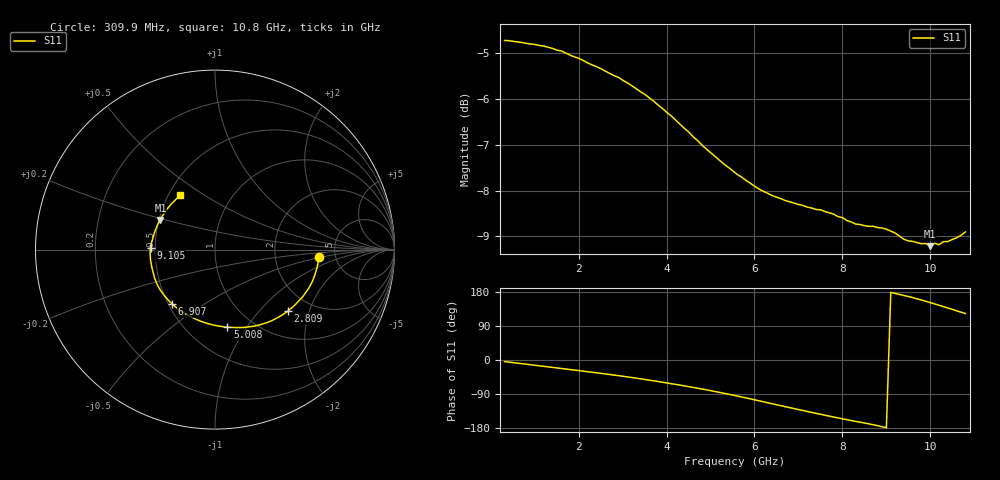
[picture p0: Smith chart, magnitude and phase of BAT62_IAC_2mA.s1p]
! Infineon Technologies  Discrete & RF Semiconductors
! BAT62
! IAC = 2 mA
! One-Port S-Parameters
# Hz  S  MA  R  50
!f  S11
!Hz  Mag  Ang
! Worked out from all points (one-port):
!   106 points, 309.9 MHz to 10.8 GHz, reference 50 ohm
!   lowest |S11| = -9.2 dB at 10.01 GHz (marker M1), VSWR 2.06, Z = 25.5 + j9.55 ohm
!   |S11| at or under -10 dB: nowhere
!   S11 on the Smith chart (normalised r, x): 309.9 MHz: 3.70, -0.48; 2.809 GHz: 1.54, -1.46; 5.008 GHz: 0.77, -0.82; 6.907 GHz: 0.52, -0.37; 9.105 GHz: 0.47, +0.01; 10.8 GHz: 0.57, +0.40
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3.0985e8  0.5804 -4.3
1.0095e9  0.5744 -14.0
1.4093e9  0.5687 -19.6
1.70915e9  0.5621 -23.9
2.4088e9  0.5433 -33.8
2.8086e9  0.5311 -39.9
3.0085e9  0.5248 -43.0
3.4083e9  0.5102 -49.6
3.70815e9  0.4982 -55.1
4.10795e9  0.48 -62.6
4.30785e9  0.4701 -66.3
4.70765e9  0.4511 -74.5
5.0075e9  0.4376 -81.0
5.6072e9  0.4146 -95.1
5.90705e9  0.4055 -102.5
6.30685e9  0.3953 -112.9
6.90655e9  0.3856 -128.3
7.2064e9  0.3818 -135.9
7.6062e9  0.3776 -145.8
8.006e9  0.3719 -155.2
8.2059e9  0.3678 -159.8
8.70565e9  0.3639 -170.9
9.10545e9  0.3594 178.4
9.50525e9  0.3508 167.5
9.8051e9  0.3483 158.2
1.0005e10  0.3462 151.5
1.030485e10  0.3501 140.8
1.08046e10  0.3588 122.6
